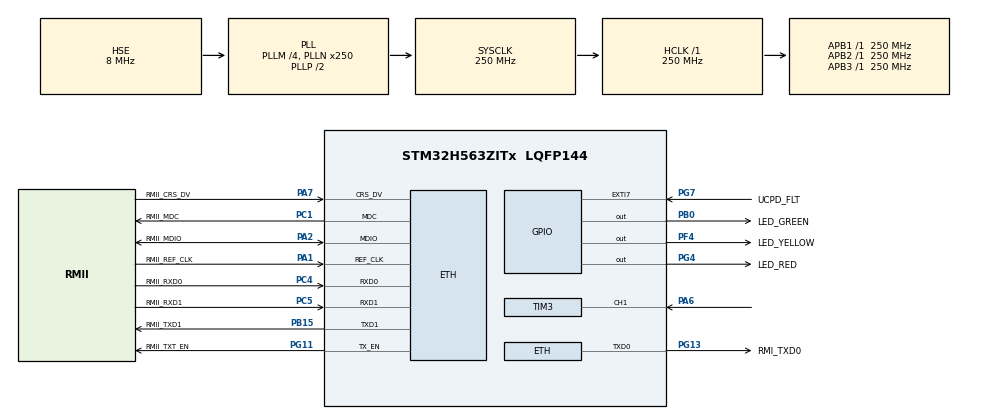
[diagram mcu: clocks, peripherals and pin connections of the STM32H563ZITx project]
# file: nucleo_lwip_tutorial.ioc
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BOOTPATH.BootPathName=LEGACY
BOOTPATH.UserSelectedBootPath=LEGACY
CORTEX_M33_NS.Number-Cortex_Memory_Protection_Unit_Region0_OTP_RO_AREAS_Settings=MPU_REGION_NUMBER0
CORTEX_M33_NS.default_mode_Activation=1
CORTEX_M33_NS.userName=CORTEX_M33
ETH.MediaInterface=HAL_ETH_RMII_MODE
Mcu.Family=STM32H5
Mcu.Name=STM32H563ZITx
Mcu.Package=LQFP144
NUCLEO-H563ZI.VCP=true
NVIC.PriorityGroup=NVIC_PRIORITYGROUP_4
NVIC.TIM1_UP_IRQn=true\:0\:0\:false\:false\:true\:true\:true\:true
NVIC.TIM3_IRQn=true\:0\:0\:false\:false\:true\:true\:true\:true
PA1.GPIO_Label=RMII_REF_CLK
PA1.GPIO_Mode=GPIO_MODE_AF_PP
PA1.GPIO_PuPd=GPIO_NOPULL
PA1.GPIO_Speed=GPIO_SPEED_FREQ_LOW
PA1.Mode=RMII
PA1.Signal=ETH_REF_CLK
PA11.GPIO_Label=USB_FS_N
PA11.Signal=USB_DM
PA12.GPIO_Label=USB_FS_P
PA12.Signal=USB_DP
PA13(JTMS/SWDIO).GPIO_Label=SWDIO
PA13(JTMS/SWDIO).Signal=DEBUG_JTMS-SWDIO
PA14(JTCK/SWCLK).GPIO_Label=SWCLK
PA14(JTCK/SWCLK).Signal=DEBUG_JTCK-SWCLK
PA15(JTDI).GPIO_Label=T_JTDI
PA15(JTDI).Signal=DEBUG_JTDI
PA2.GPIO_Label=RMII_MDIO
PA2.GPIO_Mode=GPIO_MODE_AF_PP
PA2.GPIO_PuPd=GPIO_NOPULL
PA2.GPIO_Speed=GPIO_SPEED_FREQ_LOW
PA2.Mode=RMII
PA2.Signal=ETH_MDIO
PA4.GPIO_Label=VBUS_SENSE
PA4.Signal=ADCx_INP18
PA6.Signal=S_TIM3_CH1
PA7.GPIO_Label=RMII_CRS_DV
PA7.GPIO_Mode=GPIO_MODE_AF_PP
PA7.GPIO_PuPd=GPIO_NOPULL
PA7.GPIO_Speed=GPIO_SPEED_FREQ_LOW
PA7.Mode=RMII
PA7.Signal=ETH_CRS_DV
PA9.GPIO_Label=UCDP_DBn
PA9.Signal=UCPD1_DB1
PB0.GPIO_Label=LED_GREEN
PB0.Signal=GPIO_Output
PB13.GPIO_Label=UCPD_CC1
PB13.Signal=UCPD1_CC1
PB14.GPIO_Label=UCPD_CC2
PB14.Signal=UCPD1_CC2
PB15.GPIO_Label=RMII_TXD1
PB15.GPIO_Mode=GPIO_MODE_AF_PP
PB15.GPIO_PuPd=GPIO_NOPULL
PB15.GPIO_Speed=GPIO_SPEED_FREQ_LOW
PB15.Mode=RMII
PB15.Signal=ETH_TXD1
PB3(JTDO/TRACESWO).GPIO_Label=SWO
PB3(JTDO/TRACESWO).Signal=DEBUG_JTDO-SWO
PB6.GPIO_Label=ARD_D1_TX
PB6.Signal=LPUART1_TX
PB7.GPIO_Label=ARD_D0_RX
PB7.Signal=LPUART1_RX
PC1.GPIO_Label=RMII_MDC
PC1.GPIO_Mode=GPIO_MODE_AF_PP
PC1.GPIO_PuPd=GPIO_NOPULL
PC1.GPIO_Speed=GPIO_SPEED_FREQ_LOW
PC1.Mode=RMII
PC1.Signal=ETH_MDC
PC14-OSC32_IN(OSC32_IN).Mode=LSE-External-Oscillator
PC14-OSC32_IN(OSC32_IN).Signal=RCC_OSC32_IN
PC15-OSC32_OUT(OSC32_OUT).Mode=LSE-External-Oscillator
PC15-OSC32_OUT(OSC32_OUT).Signal=RCC_OSC32_OUT
PC4.GPIO_Label=RMII_RXD0
PC4.GPIO_Mode=GPIO_MODE_AF_PP
PC4.GPIO_PuPd=GPIO_NOPULL
PC4.GPIO_Speed=GPIO_SPEED_FREQ_LOW
PC4.Mode=RMII
PC4.Signal=ETH_RXD0
PC5.GPIO_Label=RMII_RXD1
PC5.GPIO_Mode=GPIO_MODE_AF_PP
PC5.GPIO_PuPd=GPIO_NOPULL
PC5.GPIO_Speed=GPIO_SPEED_FREQ_LOW
PC5.Mode=RMII
PC5.Signal=ETH_RXD1
PD8.Signal=USART3_TX
PD9.Signal=USART3_RX
PE2.GPIO_Label=TRACE_CK
PE2.Signal=DEBUG_TRACECLK
PE3.GPIO_Label=TRACE_D0
PE3.Signal=DEBUG_TRACED0
PE4.GPIO_Label=TRACE_D1
PE4.Signal=DEBUG_TRACED1
PE5.GPIO_Label=TRACE_D2
PE5.Signal=DEBUG_TRACED2
PE6.GPIO_Label=TRACE_D3
PE6.Signal=DEBUG_TRACED3
PF4.GPIO_Label=LED_YELLOW
PF4.Signal=GPIO_Output
PG11.GPIO_Label=RMII_TXT_EN
PG11.GPIO_Mode=GPIO_MODE_AF_PP
PG11.GPIO_PuPd=GPIO_NOPULL
PG11.GPIO_Speed=GPIO_SPEED_FREQ_LOW
PG11.Mode=RMII
PG11.Signal=ETH_TX_EN
PG13.GPIO_Label=RMI_TXD0
PG13.GPIO_Mode=GPIO_MODE_AF_PP
PG13.GPIO_PuPd=GPIO_NOPULL
PG13.GPIO_Speed=GPIO_SPEED_FREQ_LOW
PG13.Mode=RMII
PG13.Signal=ETH_TXD0
PG4.GPIO_Label=LED_RED
PG4.Signal=GPIO_Output
PG7.GPIO_Label=UCPD_FLT
PG7.Signal=GPXTI7
PH0-OSC_IN(PH0).GPIO_Label=STLK_MCO
PH0-OSC_IN(PH0).Mode=HSE-External-Clock-Source
PH0-OSC_IN(PH0).Signal=RCC_OSC_IN
ProjectManager.HeapSize=0x200
ProjectManager.StackSize=0x400
ProjectManager.TargetToolchain=STM32CubeIDE
RCC.ADCFreq_Value=250000000
RCC.AHBFreq_Value=250000000
RCC.APB1Freq_Value=250000000
RCC.APB1TimFreq_Value=250000000
RCC.APB2Freq_Value=250000000
RCC.APB2TimFreq_Value=250000000
RCC.APB3Freq_Value=250000000
RCC.CSI_VALUE=4000000
RCC.CortexFreq_Value=250000000
RCC.EPOD_VALUE=8000000
RCC.HCLKFreq_Value=250000000
RCC.HSE_VALUE=8000000
RCC.HSI48_VALUE=48000000
RCC.HSIDiv=RCC_HSI_DIV1
RCC.HSI_VALUE=64000000
RCC.LSIRC_VALUE=32000
RCC.PLLM=4
RCC.PLLN=250
RCC.PLLSourceVirtual=RCC_PLL1_SOURCE_HSE
RCC.SYSCLKFreq_VALUE=250000000
RCC.SYSCLKSource=RCC_SYSCLKSOURCE_PLLCLK
RCC.USBFreq_Value=48000000
RCC.VCOOutputFreq_Value=500000000
SH.ADCx_INP18.0=ADC1_INP18
SH.S_TIM3_CH1.0=TIM3_CH1,PWM_Input_1
TIM1.PeriodNoDither=9999
TIM1.Prescaler=24999
VP_BOOTPATH_VS_BOOTPATH.Mode=BP_Activate
VP_CORTEX_M33_NS_VS_Hclk.Mode=Hclk_Mode
VP_ICACHE_VS_ICACHE.Mode=DirectMappedCache
VP_MEMORYMAP_VS_MEMORYMAP.Mode=CurAppReg
VP_NUCLEO-H563ZI_VS_BSP_COMMON.Mode=COMMON
VP_PWR_VS_DBSignals.Mode=DisableDeadBatterySignals
VP_PWR_VS_LPOM.Mode=PowerOptimisation
VP_PWR_VS_SECSignals.Mode=Security/Privilege
VP_TIM1_VS_ClockSourceINT.Mode=Internal
VP_TIM3_VS_ClockSourceINT.Mode=Internal
board=NUCLEO-H563ZI

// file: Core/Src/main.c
/* USER CODE BEGIN Header */
/**
  ******************************************************************************
  * @file           : main.c
  * @brief          : Main program body
  ******************************************************************************
  * @attention
  *
  * Copyright (c) 2024 STMicroelectronics.
  * All rights reserved.
  *
  * This software is licensed under terms that can be found in the LICENSE file
  * in the root directory of this software component.
  * If no LICENSE file comes with this software, it is provided AS-IS.
  *
  ******************************************************************************
  */
/* USER CODE END Header */
#include "main.h"
#include "string.h"

/* USER CODE BEGIN Includes */
#include "UDP_server.h"
#include "lwip.h"
#include "ethernetif.h"
#include "lwip/opt.h"
#include "lwip/init.h"
#include "netif/etharp.h"
#include "lwip/netif.h"
#include "lwip/timeouts.h"
#if LWIP_DHCP
#include "lwip/dhcp.h"
#endif
/* USER CODE END Includes */

ETH_TxPacketConfigTypeDef TxConfig;
ETH_DMADescTypeDef  DMARxDscrTab[ETH_RX_DESC_CNT]; /* Ethernet Rx DMA Descriptors */
ETH_DMADescTypeDef  DMATxDscrTab[ETH_TX_DESC_CNT]; /* Ethernet Tx DMA Descriptors */

COM_InitTypeDef BspCOMInit;

ETH_HandleTypeDef heth;

TIM_HandleTypeDef htim1;
TIM_HandleTypeDef htim3;

/* USER CODE BEGIN PV */
extern struct netif gnetif;

/* USER CODE END PV */

void SystemClock_Config(void);
static void MPU_Config(void);
static void MX_GPIO_Init(void);
static void MX_ICACHE_Init(void);
static void MX_TIM1_Init(void);
static void MX_TIM3_Init(void);
/* USER CODE BEGIN PFP */
static void Netif_Config(void);

/* USER CODE END PFP */

int main(void)
{

  /* MCU Configuration--------------------------------------------------------*/

  /* MPU Configuration--------------------------------------------------------*/
  MPU_Config();

  /* Reset of all peripherals, Initializes the Flash interface and the Systick. */
  HAL_Init();

  /* Configure the system clock */
  SystemClock_Config();

  /* Initialize all configured peripherals */
  MX_GPIO_Init();
  MX_ICACHE_Init();
  MX_TIM1_Init();
  MX_TIM3_Init();
  /* USER CODE BEGIN 2 */
  lwip_init();
  Netif_Config();
  HAL_TIM_Base_Start_IT(&htim1);
  HAL_TIM_IC_Start(&htim3, TIM_CHANNEL_1); // Captures the total period
  HAL_TIM_IC_Start(&htim3, TIM_CHANNEL_2); // Captures the high pulse width
  //udp_led_server_init(); // <-- Add this line to start listening on UDP port 5000
  //TODO add rovecomm init
  udpServer_init();
  /* USER CODE END 2 */

  /* Initialize COM1 port (115200, 8 bits (7-bit data + 1 stop bit), no parity */
  BspCOMInit.BaudRate   = 115200;
  BspCOMInit.WordLength = COM_WORDLENGTH_8B;
  BspCOMInit.StopBits   = COM_STOPBITS_1;
  BspCOMInit.Parity     = COM_PARITY_NONE;
  BspCOMInit.HwFlowCtl  = COM_HWCONTROL_NONE;
  if (BSP_COM_Init(COM1, &BspCOMInit) != BSP_ERROR_NONE)
  {
    Error_Handler();
  }

  /* Infinite loop */
  /* USER CODE BEGIN WHILE */
	while (1) {

		/* Read a received packet from the Ethernet buffers and send it
		 to the lwIP for handling */
		ethernetif_input(&gnetif);

		/* Handle timeouts */
		sys_check_timeouts();

#if LWIP_NETIF_LINK_CALLBACK
		Ethernet_Link_Periodic_Handle(&gnetif);
#endif

#if LWIP_DHCP
		DHCP_Periodic_Handle(&gnetif);
#endif

    /* USER CODE END WHILE */

  }
}

void SystemClock_Config(void)
{
  RCC_OscInitTypeDef RCC_OscInitStruct = {0};
  RCC_ClkInitTypeDef RCC_ClkInitStruct = {0};

  /** Configure the main internal regulator output voltage
  */
  __HAL_PWR_VOLTAGESCALING_CONFIG(PWR_REGULATOR_VOLTAGE_SCALE0);

  while(!__HAL_PWR_GET_FLAG(PWR_FLAG_VOSRDY)) {}

  /** Initializes the RCC Oscillators according to the specified parameters
  * in the RCC_OscInitTypeDef structure.
  */
  RCC_OscInitStruct.OscillatorType = RCC_OSCILLATORTYPE_HSE;
  RCC_OscInitStruct.HSEState = RCC_HSE_BYPASS;
  RCC_OscInitStruct.PLL.PLLState = RCC_PLL_ON;
  RCC_OscInitStruct.PLL.PLLSource = RCC_PLL1_SOURCE_HSE;
  RCC_OscInitStruct.PLL.PLLM = 4;
  RCC_OscInitStruct.PLL.PLLN = 250;
  RCC_OscInitStruct.PLL.PLLP = 2;
  RCC_OscInitStruct.PLL.PLLQ = 2;
  RCC_OscInitStruct.PLL.PLLR = 2;
  RCC_OscInitStruct.PLL.PLLRGE = RCC_PLL1_VCIRANGE_1;
  RCC_OscInitStruct.PLL.PLLVCOSEL = RCC_PLL1_VCORANGE_WIDE;
  RCC_OscInitStruct.PLL.PLLFRACN = 0;
  if (HAL_RCC_OscConfig(&RCC_OscInitStruct) != HAL_OK)
  {
    Error_Handler();
  }

  /** Initializes the CPU, AHB and APB buses clocks
  */
  RCC_ClkInitStruct.ClockType = RCC_CLOCKTYPE_HCLK|RCC_CLOCKTYPE_SYSCLK
                              |RCC_CLOCKTYPE_PCLK1|RCC_CLOCKTYPE_PCLK2
                              |RCC_CLOCKTYPE_PCLK3;
  RCC_ClkInitStruct.SYSCLKSource = RCC_SYSCLKSOURCE_PLLCLK;
  RCC_ClkInitStruct.AHBCLKDivider = RCC_SYSCLK_DIV1;
  RCC_ClkInitStruct.APB1CLKDivider = RCC_HCLK_DIV1;
  RCC_ClkInitStruct.APB2CLKDivider = RCC_HCLK_DIV1;
  RCC_ClkInitStruct.APB3CLKDivider = RCC_HCLK_DIV1;

  if (HAL_RCC_ClockConfig(&RCC_ClkInitStruct, FLASH_LATENCY_5) != HAL_OK)
  {
    Error_Handler();
  }

  /** Configure the programming delay
  */
  __HAL_FLASH_SET_PROGRAM_DELAY(FLASH_PROGRAMMING_DELAY_2);
}

void MX_ETH_Init(void)
{

   static uint8_t MACAddr[6];

  heth.Instance = ETH;
  MACAddr[0] = 0x00;
  MACAddr[1] = 0x80;
  MACAddr[2] = 0xE1;
  MACAddr[3] = 0x00;
  MACAddr[4] = 0x00;
  MACAddr[5] = 0x00;
  heth.Init.MACAddr = &MACAddr[0];
  heth.Init.MediaInterface = HAL_ETH_RMII_MODE;
  heth.Init.TxDesc = DMATxDscrTab;
  heth.Init.RxDesc = DMARxDscrTab;
  heth.Init.RxBuffLen = 1524;

  if (HAL_ETH_Init(&heth) != HAL_OK)
  {
    Error_Handler();
  }

  memset(&TxConfig, 0 , sizeof(ETH_TxPacketConfigTypeDef));
  TxConfig.Attributes = ETH_TX_PACKETS_FEATURES_CSUM | ETH_TX_PACKETS_FEATURES_CRCPAD;
  TxConfig.ChecksumCtrl = ETH_CHECKSUM_IPHDR_PAYLOAD_INSERT_PHDR_CALC;
  TxConfig.CRCPadCtrl = ETH_CRC_PAD_INSERT;

}

static void MX_ICACHE_Init(void)
{

  /** Enable instruction cache in 1-way (direct mapped cache)
  */
  if (HAL_ICACHE_ConfigAssociativityMode(ICACHE_1WAY) != HAL_OK)
  {
    Error_Handler();
  }
  if (HAL_ICACHE_Enable() != HAL_OK)
  {
    Error_Handler();
  }

}

static void MX_TIM1_Init(void)
{

  TIM_ClockConfigTypeDef sClockSourceConfig = {0};
  TIM_MasterConfigTypeDef sMasterConfig = {0};

  htim1.Instance = TIM1;
  htim1.Init.Prescaler = 24999;
  htim1.Init.CounterMode = TIM_COUNTERMODE_UP;
  htim1.Init.Period = 9999;
  htim1.Init.ClockDivision = TIM_CLOCKDIVISION_DIV1;
  htim1.Init.RepetitionCounter = 0;
  htim1.Init.AutoReloadPreload = TIM_AUTORELOAD_PRELOAD_DISABLE;
  if (HAL_TIM_Base_Init(&htim1) != HAL_OK)
  {
    Error_Handler();
  }
  sClockSourceConfig.ClockSource = TIM_CLOCKSOURCE_INTERNAL;
  if (HAL_TIM_ConfigClockSource(&htim1, &sClockSourceConfig) != HAL_OK)
  {
    Error_Handler();
  }
  sMasterConfig.MasterOutputTrigger = TIM_TRGO_RESET;
  sMasterConfig.MasterOutputTrigger2 = TIM_TRGO2_RESET;
  sMasterConfig.MasterSlaveMode = TIM_MASTERSLAVEMODE_DISABLE;
  if (HAL_TIMEx_MasterConfigSynchronization(&htim1, &sMasterConfig) != HAL_OK)
  {
    Error_Handler();
  }

}

static void MX_TIM3_Init(void)
{

  TIM_ClockConfigTypeDef sClockSourceConfig = {0};
  TIM_SlaveConfigTypeDef sSlaveConfig = {0};
  TIM_IC_InitTypeDef sConfigIC = {0};
  TIM_MasterConfigTypeDef sMasterConfig = {0};

  htim3.Instance = TIM3;
  htim3.Init.Prescaler = 249;
  htim3.Init.CounterMode = TIM_COUNTERMODE_UP;
  htim3.Init.Period = 65535;
  htim3.Init.ClockDivision = TIM_CLOCKDIVISION_DIV1;
  htim3.Init.AutoReloadPreload = TIM_AUTORELOAD_PRELOAD_DISABLE;
  if (HAL_TIM_Base_Init(&htim3) != HAL_OK)
  {
    Error_Handler();
  }
  sClockSourceConfig.ClockSource = TIM_CLOCKSOURCE_INTERNAL;
  if (HAL_TIM_ConfigClockSource(&htim3, &sClockSourceConfig) != HAL_OK)
  {
    Error_Handler();
  }
  if (HAL_TIM_IC_Init(&htim3) != HAL_OK)
  {
    Error_Handler();
  }
  sSlaveConfig.SlaveMode = TIM_SLAVEMODE_RESET;
  sSlaveConfig.InputTrigger = TIM_TS_TI1FP1;
  sSlaveConfig.TriggerPolarity = TIM_INPUTCHANNELPOLARITY_RISING;
  sSlaveConfig.TriggerPrescaler = TIM_ICPSC_DIV1;
  sSlaveConfig.TriggerFilter = 0;
  if (HAL_TIM_SlaveConfigSynchro(&htim3, &sSlaveConfig) != HAL_OK)
  {
    Error_Handler();
  }
  sConfigIC.ICPolarity = TIM_INPUTCHANNELPOLARITY_RISING;
  sConfigIC.ICSelection = TIM_ICSELECTION_DIRECTTI;
  sConfigIC.ICPrescaler = TIM_ICPSC_DIV1;
  sConfigIC.ICFilter = 0;
  if (HAL_TIM_IC_ConfigChannel(&htim3, &sConfigIC, TIM_CHANNEL_1) != HAL_OK)
  {
    Error_Handler();
  }
  sConfigIC.ICPolarity = TIM_INPUTCHANNELPOLARITY_FALLING;
  sConfigIC.ICSelection = TIM_ICSELECTION_INDIRECTTI;
  if (HAL_TIM_IC_ConfigChannel(&htim3, &sConfigIC, TIM_CHANNEL_2) != HAL_OK)
  {
    Error_Handler();
  }
  sMasterConfig.MasterOutputTrigger = TIM_TRGO_RESET;
  sMasterConfig.MasterSlaveMode = TIM_MASTERSLAVEMODE_DISABLE;
  if (HAL_TIMEx_MasterConfigSynchronization(&htim3, &sMasterConfig) != HAL_OK)
  {
    Error_Handler();
  }

}

static void MX_GPIO_Init(void)
{
  GPIO_InitTypeDef GPIO_InitStruct = {0};

  /* GPIO Ports Clock Enable */
  __HAL_RCC_GPIOE_CLK_ENABLE();
  __HAL_RCC_GPIOC_CLK_ENABLE();
  __HAL_RCC_GPIOF_CLK_ENABLE();
  __HAL_RCC_GPIOH_CLK_ENABLE();
  __HAL_RCC_GPIOA_CLK_ENABLE();
  __HAL_RCC_GPIOB_CLK_ENABLE();
  __HAL_RCC_GPIOG_CLK_ENABLE();

  /*Configure GPIO pin Output Level */
  HAL_GPIO_WritePin(LED_YELLOW_GPIO_Port, LED_YELLOW_Pin, GPIO_PIN_RESET);

  /*Configure GPIO pin Output Level */
  HAL_GPIO_WritePin(LED_GREEN_GPIO_Port, LED_GREEN_Pin, GPIO_PIN_RESET);

  /*Configure GPIO pin Output Level */
  HAL_GPIO_WritePin(LED_RED_GPIO_Port, LED_RED_Pin, GPIO_PIN_RESET);

  /*Configure GPIO pin : LED_YELLOW_Pin */
  GPIO_InitStruct.Pin = LED_YELLOW_Pin;
  GPIO_InitStruct.Mode = GPIO_MODE_OUTPUT_PP;
  GPIO_InitStruct.Pull = GPIO_NOPULL;
  GPIO_InitStruct.Speed = GPIO_SPEED_FREQ_LOW;
  HAL_GPIO_Init(LED_YELLOW_GPIO_Port, &GPIO_InitStruct);

  /*Configure GPIO pin : VBUS_SENSE_Pin */
  GPIO_InitStruct.Pin = VBUS_SENSE_Pin;
  GPIO_InitStruct.Mode = GPIO_MODE_ANALOG;
  GPIO_InitStruct.Pull = GPIO_NOPULL;
  HAL_GPIO_Init(VBUS_SENSE_GPIO_Port, &GPIO_InitStruct);

  /*Configure GPIO pin : LED_GREEN_Pin */
  GPIO_InitStruct.Pin = LED_GREEN_Pin;
  GPIO_InitStruct.Mode = GPIO_MODE_OUTPUT_PP;
  GPIO_InitStruct.Pull = GPIO_NOPULL;
  GPIO_InitStruct.Speed = GPIO_SPEED_FREQ_LOW;
  HAL_GPIO_Init(LED_GREEN_GPIO_Port, &GPIO_InitStruct);

  /*Configure GPIO pins : UCPD_CC1_Pin UCPD_CC2_Pin */
  GPIO_InitStruct.Pin = UCPD_CC1_Pin|UCPD_CC2_Pin;
  GPIO_InitStruct.Mode = GPIO_MODE_ANALOG;
  GPIO_InitStruct.Pull = GPIO_NOPULL;
  HAL_GPIO_Init(GPIOB, &GPIO_InitStruct);

  /*Configure GPIO pin : LED_RED_Pin */
  GPIO_InitStruct.Pin = LED_RED_Pin;
  GPIO_InitStruct.Mode = GPIO_MODE_OUTPUT_PP;
  GPIO_InitStruct.Pull = GPIO_NOPULL;
  GPIO_InitStruct.Speed = GPIO_SPEED_FREQ_LOW;
  HAL_GPIO_Init(LED_RED_GPIO_Port, &GPIO_InitStruct);

  /*Configure GPIO pin : UCPD_FLT_Pin */
  GPIO_InitStruct.Pin = UCPD_FLT_Pin;
  GPIO_InitStruct.Mode = GPIO_MODE_IT_RISING;
  GPIO_InitStruct.Pull = GPIO_NOPULL;
  HAL_GPIO_Init(UCPD_FLT_GPIO_Port, &GPIO_InitStruct);

  /*Configure GPIO pins : USB_FS_N_Pin USB_FS_P_Pin */
  GPIO_InitStruct.Pin = USB_FS_N_Pin|USB_FS_P_Pin;
  GPIO_InitStruct.Mode = GPIO_MODE_AF_PP;
  GPIO_InitStruct.Pull = GPIO_NOPULL;
  GPIO_InitStruct.Speed = GPIO_SPEED_FREQ_LOW;
  GPIO_InitStruct.Alternate = GPIO_AF10_USB;
  HAL_GPIO_Init(GPIOA, &GPIO_InitStruct);

  /*Configure GPIO pins : ARD_D1_TX_Pin ARD_D0_RX_Pin */
  GPIO_InitStruct.Pin = ARD_D1_TX_Pin|ARD_D0_RX_Pin;
  GPIO_InitStruct.Mode = GPIO_MODE_AF_PP;
  GPIO_InitStruct.Pull = GPIO_NOPULL;
  GPIO_InitStruct.Speed = GPIO_SPEED_FREQ_LOW;
  GPIO_InitStruct.Alternate = GPIO_AF8_LPUART1;
  HAL_GPIO_Init(GPIOB, &GPIO_InitStruct);

}

/* USER CODE BEGIN 4 */

void HAL_TIM_PeriodElapsedCallback(TIM_HandleTypeDef *htim)
{
    if (htim->Instance == TIM1)
    {

//    	RC_write_blank(7);
//    	RC_write_u8(12,7);
//    	RC_write_8(9,-13);
//    	RC_write_u16(10,300);
//    	RC_write_16(11,-330);
//    	RC_write_u32(12,33000);
//    	RC_write_32(13,-35000);
//    	RC_write_float(19,10.3); //maybe working weired rounding idk
//    	RC_write_char(20,'h');
//    	uint8_t arr[3]={5,6,7};
//    	RC_write_u8_arr(8,3,arr);
//
//    	int16_t arr16[3]={-200,-300,-400};
//    	RC_write_16_arr(10,3,arr16);

//
    	uint32_t period = HAL_TIM_ReadCapturedValue(&htim3, TIM_CHANNEL_1);
    	uint32_t pulse_width = HAL_TIM_ReadCapturedValue(&htim3, TIM_CHANNEL_2);

    	float absolute_angle = 0.0f;

    	// Prevent divide-by-zero if the encoder is unplugged or initializing
    	if (period > 0) {
    	    // REV Encoder ranges from 1 µs (0 deg) to 1024 µs (360 deg)
    	    // We calculate duty cycle and scale it across 360 degrees
    	    float duty_cycle = (float)pulse_width / (float)period;

    	    absolute_angle = duty_cycle * 360.0f;

    	}
    	RC_write_float(10,absolute_angle);

    }
}

/**
 * @brief  Setup the network interface
 * @param  None
 * @retval None
 */
static void Netif_Config(void) {
	ip_addr_t ipaddr;
	ip_addr_t netmask;
	ip_addr_t gw;

#if LWIP_DHCP
	ip_addr_set_zero_ip4(&ipaddr);
	ip_addr_set_zero_ip4(&netmask);
	ip_addr_set_zero_ip4(&gw);
#else

  /* IP address default setting */
  IP4_ADDR(&ipaddr, IP_ADDR0, IP_ADDR1, IP_ADDR2, IP_ADDR3);
  IP4_ADDR(&netmask, NETMASK_ADDR0, NETMASK_ADDR1 , NETMASK_ADDR2, NETMASK_ADDR3);
  IP4_ADDR(&gw, GW_ADDR0, GW_ADDR1, GW_ADDR2, GW_ADDR3);

#endif

	/* add the network interface */
	netif_add(&gnetif, &ipaddr, &netmask, &gw, NULL, &ethernetif_init,
			&ethernet_input);

	/*  Registers the default network interface */
	netif_set_default(&gnetif);

#if LWIP_NETIF_LINK_CALLBACK
	netif_set_link_callback(&gnetif, ethernet_link_status_updated);
#if LWIP_DHCP
	dhcp_start(&gnetif);

	ethernet_link_status_updated(&gnetif);
#endif
#endif
}
/* USER CODE END 4 */

 /* MPU Configuration */

void MPU_Config(void)
{
  MPU_Region_InitTypeDef MPU_InitStruct = {0};
  MPU_Attributes_InitTypeDef MPU_AttributesInit = {0};

  /* Disables the MPU */
  HAL_MPU_Disable();

  /** Initializes and configures the Region 0 and the memory to be protected
  */
  MPU_InitStruct.Enable = MPU_REGION_ENABLE;
  MPU_InitStruct.Number = MPU_REGION_NUMBER0;
  MPU_InitStruct.BaseAddress = 0x08FFF000;
  MPU_InitStruct.LimitAddress = 0x08FFFFFF;
  MPU_InitStruct.AttributesIndex = MPU_ATTRIBUTES_NUMBER0;
  MPU_InitStruct.AccessPermission = MPU_REGION_ALL_RO;
  MPU_InitStruct.DisableExec = MPU_INSTRUCTION_ACCESS_DISABLE;
  MPU_InitStruct.IsShareable = MPU_ACCESS_NOT_SHAREABLE;

  HAL_MPU_ConfigRegion(&MPU_InitStruct);

  /** Initializes and configures the Attribute 0 and the memory to be protected
  */
  MPU_AttributesInit.Number = MPU_ATTRIBUTES_NUMBER0;
  MPU_AttributesInit.Attributes = INNER_OUTER(MPU_NOT_CACHEABLE);

  HAL_MPU_ConfigMemoryAttributes(&MPU_AttributesInit);
  /* Enables the MPU */
  HAL_MPU_Enable(MPU_PRIVILEGED_DEFAULT);

}

void Error_Handler(void)
{
  __disable_irq();
  while (1)
  {
  }
}
